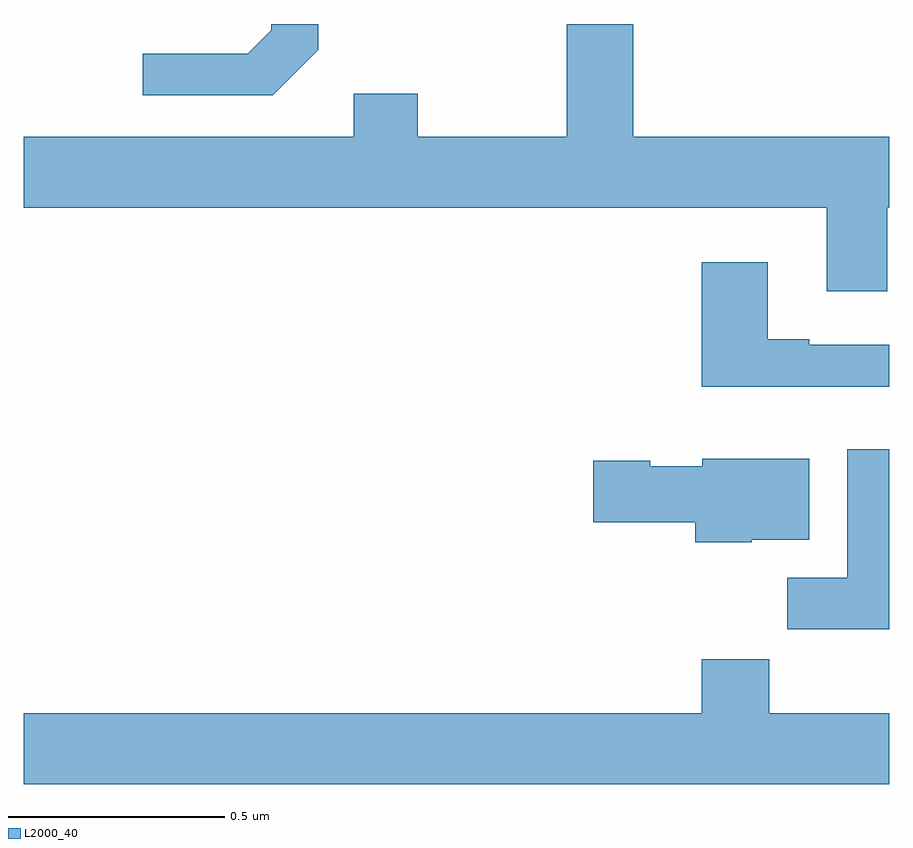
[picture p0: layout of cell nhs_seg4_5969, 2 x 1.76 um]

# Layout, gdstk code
import gdstk
lib = gdstk.Library(unit=1e-6, precision=1e-09)
def P(c, l, *ps):  # polygons
    for p in ps: c.add(gdstk.Polygon(p, *l))
L2000_40 = (2000, 40)

nhs_seg4_5969 = lib.new_cell('nhs_seg4_5969')
P(nhs_seg4_5969, L2000_40, [(185.995,807.476),(186,807.476),(186,807.64),(185.408,807.64),(185.408,807.9),(185.255,807.9),(185.255,807.64),(184.911,807.64),(184.911,807.739),(184.763,807.739),(184.763,807.64),(184,807.64),(184,807.476),(185.855,807.476),(185.855,807.282),(185.995,807.282)],
  [(184.681,807.841),(184.681,807.9),(184.572,807.9),(184.572,807.885),(184.518,807.831),(184.275,807.831),(184.275,807.735),(184.575,807.735)],
  [(186,807.159),(185.815,807.159),(185.815,807.172),(185.719,807.172),(185.719,807.349),(185.567,807.349),(185.567,807.062),(186,807.062)],
  [(186,806.917),(185.903,806.917),(185.903,806.62),(185.764,806.62),(185.764,806.502),(186,806.502)],
  [(185.682,806.708),(185.815,806.708),(185.815,806.896),(185.568,806.896),(185.568,806.878),(185.448,806.878),(185.448,806.891),(185.316,806.891),(185.316,806.749),(185.552,806.749),(185.552,806.702),(185.682,806.702)],
  [(186,806.308),(185.723,806.308),(185.723,806.432),(185.567,806.432),(185.567,806.308),(184,806.308),(184,806.144),(186,806.144)])

lib.write_gds('nhs_seg4_5969.gds')
